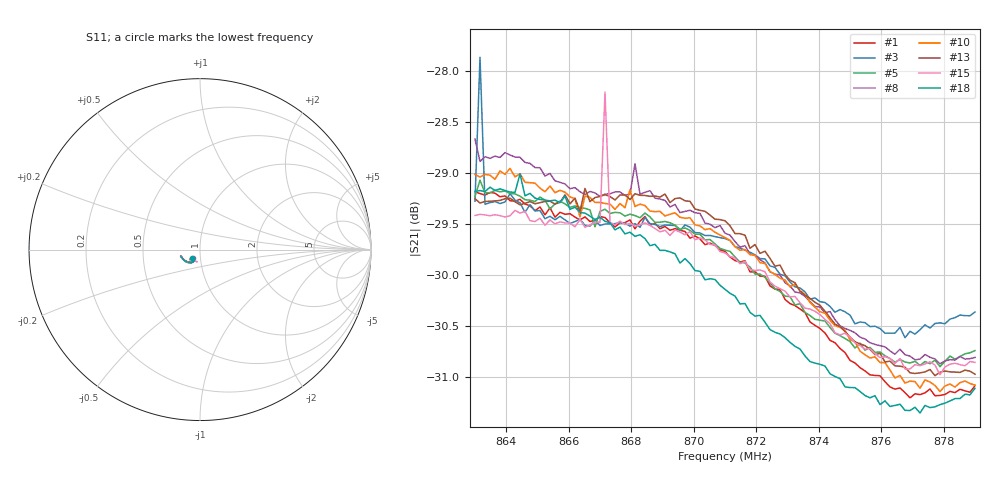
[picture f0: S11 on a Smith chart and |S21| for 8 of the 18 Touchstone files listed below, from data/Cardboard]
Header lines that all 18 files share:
# HZ S RI R 50
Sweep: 863 MHz to 879 MHz
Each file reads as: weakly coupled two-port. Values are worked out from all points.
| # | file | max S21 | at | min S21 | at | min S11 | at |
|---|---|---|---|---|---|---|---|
| 1 | co25s2.s2p | -29.19 dB | 863 MHz | -31.2 dB | 876.92 MHz | -23.7 dB | 865.4 MHz |
| 2 | co25s4.s2p | -28.73 dB | 866.2 MHz | -30.7 dB | 877.88 MHz | -24.0 dB | 866.2 MHz |
| 3 | co25s13.s2p | -27.87 dB | 863.16 MHz | -30.6 dB | 876.76 MHz | -24.0 dB | 864.44 MHz |
| 4 | co26s1.s2p | -28.95 dB | 863.48 MHz | -31.1 dB | 877.72 MHz | -23.8 dB | 864.44 MHz |
| 5 | co26s3.s2p | -29.07 dB | 863.16 MHz | -30.9 dB | 877.88 MHz | -23.8 dB | 865.24 MHz |
| 6 | co26s4.s2p | -29.04 dB | 865.08 MHz | -30.8 dB | 877.88 MHz | -23.9 dB | 865.08 MHz |
| 7 | co26s9.s2p | -29.24 dB | 863.32 MHz | -31.0 dB | 876.92 MHz | -23.6 dB | 864.92 MHz |
| 8 | co27s2.s2p | -28.67 dB | 863 MHz | -30.9 dB | 877.88 MHz | -23.7 dB | 863 MHz |
| 9 | co27s4.s2p | -28.89 dB | 863 MHz | -31.3 dB | 877.88 MHz | -23.6 dB | 865.24 MHz |
| 10 | co27s5.s2p | -28.96 dB | 864.12 MHz | -31.1 dB | 877.88 MHz | -23.7 dB | 864.44 MHz |
| 11 | co27s11.s2p | -29.13 dB | 863.16 MHz | -30.5 dB | 878.52 MHz | -23.7 dB | 864.6 MHz |
| 12 | co28s1.s2p | -28.92 dB | 863 MHz | -31.0 dB | 877.88 MHz | -23.6 dB | 865.08 MHz |
| 13 | co28s2.s2p | -29.15 dB | 866.52 MHz | -31.0 dB | 877.72 MHz | -23.6 dB | 865.08 MHz |
| 14 | co28s3.s2p | -29.38 dB | 864.76 MHz | -31.0 dB | 877.88 MHz | -23.5 dB | 865.56 MHz |
| 15 | co28s4.s2p | -28.21 dB | 867.16 MHz | -31.0 dB | 877.88 MHz | -23.6 dB | 864.6 MHz |
| 16 | co28s6.s2p | -29.32 dB | 864.6 MHz | -31.0 dB | 878.04 MHz | -23.6 dB | 864.44 MHz |
| 17 | co28s9.s2p | -29.23 dB | 863 MHz | -30.8 dB | 878.84 MHz | -23.8 dB | 865.88 MHz |
| 18 | co29s5.s2p | -29.01 dB | 864.44 MHz | -31.4 dB | 877.24 MHz | -24.2 dB | 865.88 MHz |
